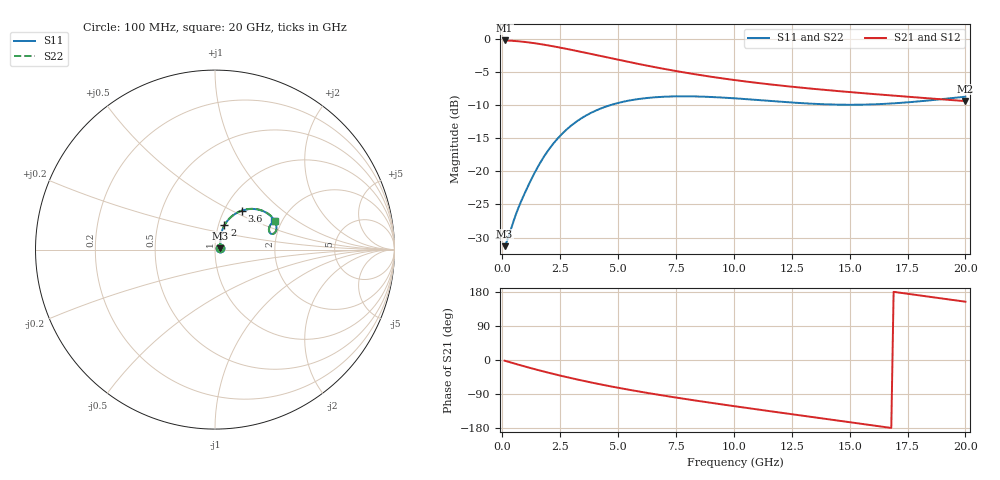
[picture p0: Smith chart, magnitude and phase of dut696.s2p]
! Touchstone file exported from HFSS 2024.1.0
!  File:  C:/UserFiles/LocalFiles/RDL_TSV_Batchsim/temp_RDL_TSV_696_1779820452.aedt
!  Generated:  02:47:05 AM May 27, 2026
!  Design:  RDL_TSV
!  Project:  temp_RDL_TSV_696_1779820452
!  Setup:  Setup1
!  Solution:  Sweep
! Variables:
!  dtsv = 12um
!  hbump = 3um
!  htsv = 56.44um
!  ldown = 573.81um
!  lrdl = 329.12um
!  p = 40
!  p1 = 46.45um
!  rhole = 10um
!  subl = 3037.91um
!  t = 450um
!  tdown = 3.58um
!  trdl = 2.86um
!  viad = 10um
!  wdown = 11.22um
!  wrdl = 13.93um
!  xbump = 18um
# GHz S MA R 50.000000
! Terminal data exported
! Port[1] = TM1_1_T1
! Port[2] = TM1_4_T1
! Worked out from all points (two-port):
!   200 points, 100 MHz to 20 GHz, reference 50 ohm
!   highest |S21| = -0.23 dB at 100 MHz (marker M1); lowest = -9.4 dB at 20 GHz (marker M2)
!   |S21| within 3 dB of the highest: start of sweep to 5.121 GHz
!   lowest |S11| = -31.3 dB at 100 MHz (marker M3), VSWR 1.06, Z = 52.7 + j0.686 ohm
!   |S11| at or under -10 dB: start of sweep to 4.67 GHz
!   |S22| runs from -31.3 to -8.6 dB; largest |S21 - S12| = 4e-14
!   S11 on the Smith chart (normalised r, x): 100 MHz: 1.05, +0.01; 2 GHz: 1.07, +0.30; 3.6 GHz: 1.21, +0.56; 20 GHz: 1.83, +0.66
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0.1  0.0272 13.8  0.9733 -1.8  0.9733 -1.8  0.0272 13.8
! Gamma 0 0 0 0
! Port Impedance 50 0 50 0
0.2  0.02968 25.9  0.9722 -3.6  0.9722 -3.6  0.02968 25.9
0.6  0.04791 52.5  0.9627 -10.7  0.9627 -10.7  0.04791 52.6
0.9  0.0643 61.2  0.9516 -15.9  0.9516 -15.9  0.06429 61.2
1.5  0.1053 69.2  0.922 -25.8  0.922 -25.8  0.1053 69.3
2  0.1454 68.8  0.8921 -33.7  0.8921 -33.7  0.1455 68.9
2.3  0.1697 67.1  0.8727 -38.2  0.8727 -38.2  0.1699 67.2
2.7  0.201 63.9  0.8461 -44.0  0.8461 -44.0  0.2013 64.0
3.5  0.2567 56.5  0.7919 -55.0  0.7919 -55.0  0.2571 56.6
3.6  0.2629 55.5  0.7852 -56.3  0.7852 -56.3  0.2633 55.6
4.3  0.3003 48.9  0.7393 -65.0  0.7393 -65.0  0.3009 49.0
5  0.3283 42.7  0.6962 -73.3  0.6962 -73.3  0.329 42.9
5.9  0.3519 35.8  0.6459 -83.1  0.6459 -83.1  0.3527 35.9
6.8  0.3643 29.9  0.6019 -92.3  0.6019 -92.3  0.3654 30.0
8.4  0.3674 22.1  0.5381 -107.5  0.5381 -107.5  0.3687 22.2
10.1  0.3553 17.1  0.4871 -122.6  0.4871 -122.6  0.3566 17.2
11.7  0.3387 15.2  0.4506 -136.3  0.4506 -136.3  0.3402 15.3
13.4  0.3237 16.0  0.4201 -150.6  0.4201 -150.6  0.3252 16.0
15  0.3181 18.5  0.3967 -164.1  0.3967 -164.1  0.3195 18.5
16.7  0.3245 21.9  0.3752 -178.5  0.3752 -178.5  0.3258 21.9
18.3  0.3414 24.4  0.357 168.1  0.357 168.1  0.3425 24.3
20  0.3662 25.4  0.3391 153.8  0.3391 153.8  0.3672 25.3
